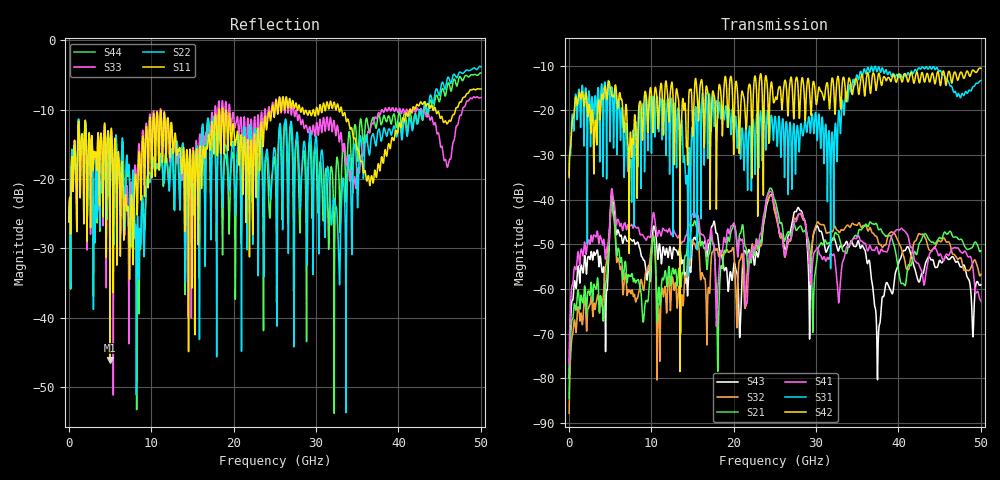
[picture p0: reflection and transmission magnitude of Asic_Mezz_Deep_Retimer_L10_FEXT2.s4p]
! Created Wed Jul  3 15:47:08 2019
# hz S ma R 50
! 4 Port Network Data from SP1.SP block
! freq  magS11  angS11  magS12  angS12  magS13  angS13  magS14  angS14
!  magS21  angS21  magS22  angS22  magS23  angS23  magS24  angS24
!  magS31  angS31  magS32  angS32  magS33  angS33  magS34  angS34
!  magS41  angS41  magS42  angS42  magS43  angS43  magS44  angS44
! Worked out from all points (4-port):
!   4996 points, 50 MHz to 50 GHz, reference 50 ohm
!   strongest paths, dB at 50 MHz, 12.54 GHz, 25.03 GHz, 37.52 GHz, 50 GHz:
!     S42: -35.0, -13.8, -17.5, -12.4, -10.6
!     S31: -34.6, -19.7, -21.4, -10.6, -13.3
!     S41: -76.7, -47.6, -41.7, -51.5, -62.7
!     S21: -84.5, -55.9, -40.1, -46.4, -51.4
!     S32: -87.8, -57.6, -42.8, -49.2, -56.7
!     S43: -79.9, -53.2, -42.6, -73.7, -59.0
!   lowest |S11| = -46.1 dB at 4.99 GHz (marker M1), VSWR 1.01, Z = 50 + j0.491 ohm
!   |S11| at or under -10 dB: start of sweep to 18.2 GHz; 18.7 GHz to 24.64 GHz (5.935 GHz wide, 27.4 % of centre); 33.13 GHz to 41.34 GHz (8.218 GHz wide, 22.1 % of centre)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
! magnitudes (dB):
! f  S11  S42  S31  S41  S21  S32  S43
! 50 MHz  -26.2  -35.0  -34.6  -76.7  -84.5  -87.8  -79.9
! 4.99 GHz  -46.1  -14.4  -24.7  -44.4  -45.8  -44.8  -46.1
! 10.89 GHz  -15.4  -23.1  -24.5  -47.1  -59.8  -63.3  -51.8
! 20.77 GHz  -15.8  -24.3  -26.5  -48.6  -47.6  -53.5  -70.2
! 24.48 GHz  -11.6  -15.0  -22.4  -38.1  -37.4  -39.0  -39.0
! 37.55 GHz  -17.8  -12.0  -10.4  -51.7  -46.6  -49.5  -71.5
! 50 GHz  -7.0  -10.6  -13.3  -62.7  -51.4  -56.7  -59.0
